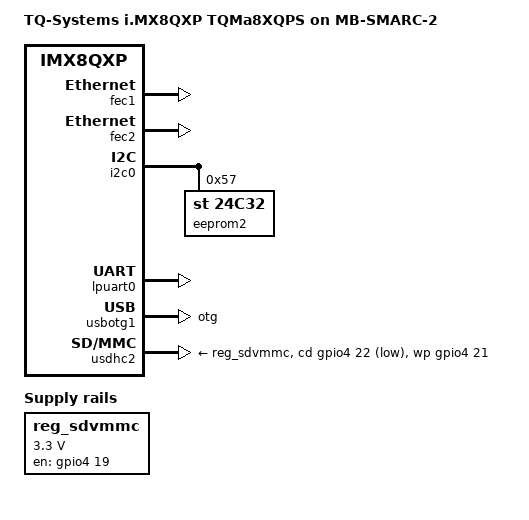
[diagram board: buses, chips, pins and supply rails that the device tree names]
// SPDX-License-Identifier: GPL-2.0-or-later OR MIT
/*
 * Copyright 2018 - 2020 TQ-Systems GmbH
 */

/dts-v1/;

#include "imx8qxp-tqma8xqps.dtsi"

/ {
	model = "TQ-Systems i.MX8QXP TQMa8XQPS on MB-SMARC-2";
	compatible = "tq,imx8qxp-mb-smarc-2", "tq,imx8qxp-tqma8xqps", "fsl,imx8qxp";

	chosen {
		bootargs = "console=ttyLP0,115200 earlycon";
		stdout-path = &lpuart0;
	};

	reg_sdvmmc: regulator-sdvmmc {
		compatible = "regulator-fixed";
		regulator-name = "SD1_VMMC";
		regulator-min-microvolt = <3300000>;
		regulator-max-microvolt = <3300000>;
		gpio = <&gpio4 19 GPIO_ACTIVE_HIGH>;
		enable-active-high;
		regulator-boot-on;
	};
};

&ethphy0 {
	/* LED1: Link, LED2: activity */
	ti,led-function = <0xc100>;
	/* active high, LED1/2 driven by phy */
	ti,led-ctrl = <0x1441>;
};

&ethphy3 {
	/* LED1: Link, LED2: activity */
	ti,led-function = <0xc100>;
	/* active high, LED1/2 driven by phy */
	ti,led-ctrl = <0x1441>;
};

&fec1 {
	status = "okay";
};

&fec2 {
	status = "okay";
};

&i2c0 {
	eeprom2: eeprom@57 {
		compatible = "st,24c32", "atmel,24c32";
		reg = <0x57>;
		pagesize = <32>;
	};
};

&lpuart0 {
	status = "okay";
};

&usbotg1 {
	dr_mode = "otg";
	status = "okay";
};

&usdhc2 {
	cd-gpios = <&gpio4 22 GPIO_ACTIVE_LOW>;
	wp-gpios = <&gpio4 21 GPIO_ACTIVE_HIGH>;
	vmmc-supply = <&reg_sdvmmc>;
	no-mmc;
	no-sdio;
	status = "okay";
};
